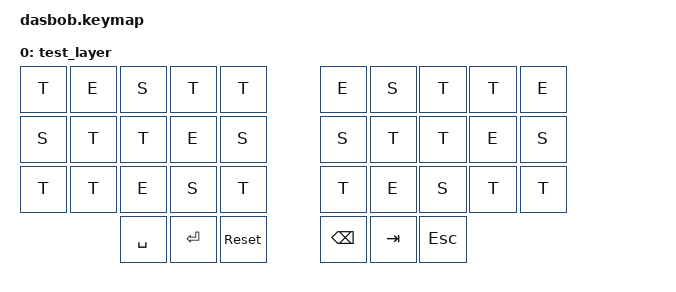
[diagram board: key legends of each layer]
#include <behaviors.dtsi>
#include <dt-bindings/zmk/keys.h>

/ {
    keymap {
        compatible = "zmk,keymap";

        test_layer {
            bindings = <
            &kp T      &kp E      &kp S      &kp T      &kp T          &kp E      &kp S      &kp T      &kp T      &kp E
            &kp S      &kp T      &kp T      &kp E      &kp S          &kp S      &kp T      &kp T      &kp E      &kp S
            &kp T      &kp T      &kp E      &kp S      &kp T          &kp T      &kp E      &kp S      &kp T      &kp T
                                  &kp SPACE  &kp ENTER  &sys_reset     &kp BSPC   &kp TAB    &kp ESC
            >;
        };
    };
};
